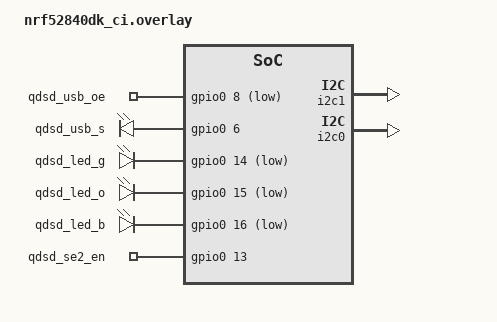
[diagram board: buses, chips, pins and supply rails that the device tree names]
/*
 * Compile-check stand-in for the QDSD board on an nRF52840 DK.
 * Provides the aliases/labels the QDSD board definition (BOARD_ROOT) normally
 * supplies. Pin numbers are the QDSD PCBA's, per hal_gpio.c comments.
 */
/ {
	aliases {
		usb-oe = &qdsd_usb_oe;
		usb-s = &qdsd_usb_s;
		status-led-green = &qdsd_led_g;
		status-led-orange = &qdsd_led_o;
		status-led-blue = &qdsd_led_b;
		se2-en = &qdsd_se2_en;
		se05x-i2c = &i2c0;
	};

	qdsd_gpio {
		compatible = "gpio-leds";
		qdsd_usb_oe: usb_oe { gpios = <&gpio0 8 GPIO_ACTIVE_LOW>; };
		qdsd_usb_s: usb_s { gpios = <&gpio0 6 GPIO_ACTIVE_HIGH>; };
		qdsd_led_g: led_g { gpios = <&gpio0 14 GPIO_ACTIVE_LOW>; };
		qdsd_led_o: led_o { gpios = <&gpio0 15 GPIO_ACTIVE_LOW>; };
		qdsd_led_b: led_b { gpios = <&gpio0 16 GPIO_ACTIVE_LOW>; };
		qdsd_se2_en: se2_en { gpios = <&gpio0 13 GPIO_ACTIVE_HIGH>; };
	};
};

&spi1 { status = "disabled"; };
&i2c1 { status = "okay"; };
&i2c0 { status = "okay"; };

/delete-node/ &storage_partition;

&flash0 {
	partitions {
		qdsd_nvs_partition: partition@f8000 {
			label = "storage";
			reg = <0x000f8000 0x00008000>;
		};
	};
};
